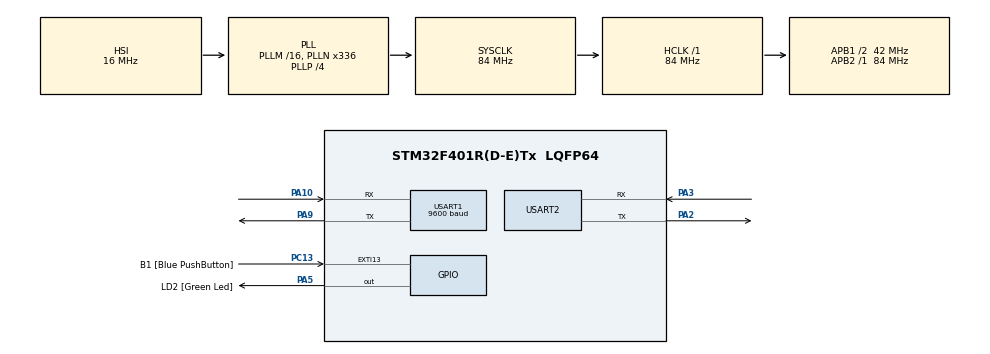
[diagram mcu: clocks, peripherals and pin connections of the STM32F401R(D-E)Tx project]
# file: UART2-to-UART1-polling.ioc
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Mcu.Family=STM32F4
Mcu.Name=STM32F401R(D-E)Tx
Mcu.Package=LQFP64
NVIC.PriorityGroup=NVIC_PRIORITYGROUP_4
NVIC.TIM2_IRQn=true\:0\:0\:false\:false\:true\:true\:true\:true
NVIC.USART1_IRQn=true\:0\:0\:false\:false\:true\:true\:true\:true
NVIC.USART2_IRQn=true\:0\:0\:false\:false\:true\:true\:true\:true
PA10.Mode=Asynchronous
PA10.Signal=USART1_RX
PA13.GPIO_Label=TMS
PA13.Mode=Trace_Asynchronous_SW
PA13.Signal=SYS_JTMS-SWDIO
PA14.GPIO_Label=TCK
PA14.Mode=Trace_Asynchronous_SW
PA14.Signal=SYS_JTCK-SWCLK
PA2.Mode=Asynchronous
PA2.Signal=USART2_TX
PA3.Mode=Asynchronous
PA3.Signal=USART2_RX
PA5.GPIO_Label=LD2 [Green Led]
PA5.GPIO_Mode=GPIO_MODE_OUTPUT_PP
PA5.GPIO_PuPd=GPIO_NOPULL
PA5.GPIO_Speed=GPIO_SPEED_FREQ_LOW
PA5.Signal=GPIO_Output
PA9.Mode=Asynchronous
PA9.Signal=USART1_TX
PB3.GPIO_Label=SWO
PB3.Mode=Trace_Asynchronous_SW
PB3.Signal=SYS_JTDO-SWO
PC13-ANTI_TAMP.GPIO_Label=B1 [Blue PushButton]
PC13-ANTI_TAMP.GPIO_ModeDefaultEXTI=GPIO_MODE_EVT_FALLING
PC13-ANTI_TAMP.GPIO_PuPd=GPIO_NOPULL
PC13-ANTI_TAMP.Signal=GPXTI13
PC14-OSC32_IN.Mode=LSE-External-Oscillator
PC14-OSC32_IN.Signal=RCC_OSC32_IN
PC15-OSC32_OUT.Mode=LSE-External-Oscillator
PC15-OSC32_OUT.Signal=RCC_OSC32_OUT
PH0\ -\ OSC_IN.Mode=HSE-External-Clock-Source
PH0\ -\ OSC_IN.Signal=RCC_OSC_IN
PH1\ -\ OSC_OUT.Mode=HSE-External-Clock-Source
PH1\ -\ OSC_OUT.Signal=RCC_OSC_OUT
ProjectManager.HeapSize=0x200
ProjectManager.StackSize=0x400
ProjectManager.TargetToolchain=STM32CubeIDE
RCC.48MHZClocksFreq_Value=48000000
RCC.AHBFreq_Value=84000000
RCC.APB1CLKDivider=RCC_HCLK_DIV2
RCC.APB1Freq_Value=42000000
RCC.APB1TimFreq_Value=84000000
RCC.APB2Freq_Value=84000000
RCC.APB2TimFreq_Value=84000000
RCC.CortexFreq_Value=84000000
RCC.HCLKFreq_Value=84000000
RCC.HSE_VALUE=8000000
RCC.HSI_VALUE=16000000
RCC.PLLN=336
RCC.PLLP=RCC_PLLP_DIV4
RCC.PLLQ=7
RCC.SYSCLKFreq_VALUE=84000000
RCC.SYSCLKSource=RCC_SYSCLKSOURCE_PLLCLK
RCC.VCOOutputFreq_Value=336000000
TIM2.AutoReloadPreload=TIM_AUTORELOAD_PRELOAD_ENABLE
TIM2.Period=10000-1
TIM2.Prescaler=81-1
USART1.BaudRate=9600
USART1.Mode=MODE_TX_RX
USART1.VirtualMode=VM_ASYNC
USART2.VirtualMode=VM_ASYNC
VP_TIM2_VS_ClockSourceINT.Mode=Internal
board=NUCLEO-F401RE

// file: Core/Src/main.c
/* USER CODE BEGIN Header */
/**
  ******************************************************************************
  * @file           : main.c
  * @brief          : Main program body
  ******************************************************************************
  * @attention
  *
  * Copyright (c) 2026 STMicroelectronics.
  * All rights reserved.
  *
  * This software is licensed under terms that can be found in the LICENSE file
  * in the root directory of this software component.
  * If no LICENSE file comes with this software, it is provided AS-IS.
  *
  ******************************************************************************
  */
/* USER CODE END Header */
#include "main.h"

/* USER CODE BEGIN Includes */
#include <stdio.h>
#include <string.h>
/* USER CODE END Includes */

TIM_HandleTypeDef htim2;

UART_HandleTypeDef huart1;
UART_HandleTypeDef huart2;

/* USER CODE BEGIN PV */
// TIM2 LED blink
volatile uint8_t  tim2_counter = 0;

// Button debounce
volatile uint8_t  btn_prev_state  = GPIO_PIN_SET;  // B1 is active-low (pull-up)
volatile uint32_t btn_last_tick   = 0;
#define DEBOUNCE_MS  300

// Incrementing counter sent over USART
volatile uint32_t send_counter = 0;

// USART1 RX (single-byte IT reception)
uint8_t rx1_byte = 0;
char    rx1_buf[32];
uint8_t rx1_idx  = 0;
uint32_t received_count = 0;
uint8_t ledstatus= 0;

	/* USER CODE END PV */

void SystemClock_Config(void);
static void MX_GPIO_Init(void);
static void MX_TIM2_Init(void);
static void MX_USART1_UART_Init(void);
static void MX_USART2_UART_Init(void);

int main(void)
{

  /* MCU Configuration--------------------------------------------------------*/

  /* Reset of all peripherals, Initializes the Flash interface and the Systick. */
  HAL_Init();

  /* Configure the system clock */
  SystemClock_Config();

  /* Initialize all configured peripherals */
  MX_GPIO_Init();
  MX_TIM2_Init();
  MX_USART1_UART_Init();
  MX_USART2_UART_Init();
  /* USER CODE BEGIN 2 */

  HAL_UART_Receive_IT(&huart1, &rx1_byte, 1);
  HAL_TIM_Base_Start_IT(&htim2);
  /* USER CODE END 2 */

  /* Infinite loop */
  /* USER CODE BEGIN WHILE */
  while (1)
  {
	  	//uint8_t btn_state = HAL_GPIO_ReadPin(B1_GPIO_Port, B1_Pin); // this is the HAL
	  	// way of reading a push button

	  	// And this is the baremetal way:
	  	  uint8_t btn_state = !(GPIOC->IDR & (1 << 13));

		// Detect falling edge (press) with debounce
		if ((btn_state == GPIO_PIN_RESET) &&
			(btn_prev_state == GPIO_PIN_SET) &&
			(HAL_GetTick() - btn_last_tick > DEBOUNCE_MS))
		{
			btn_last_tick = HAL_GetTick();
			send_counter++;

			char buf[32];
			int  len = snprintf(buf, sizeof(buf), "Count: %lu\r\n", send_counter);

			// TX on USART1
			HAL_UART_Transmit(&huart1, (uint8_t *)buf, len, 100);
		}

		btn_prev_state = btn_state;
    /* USER CODE END WHILE */

  }
}

void SystemClock_Config(void)
{
  RCC_OscInitTypeDef RCC_OscInitStruct = {0};
  RCC_ClkInitTypeDef RCC_ClkInitStruct = {0};

  /** Configure the main internal regulator output voltage
  */
  __HAL_RCC_PWR_CLK_ENABLE();
  __HAL_PWR_VOLTAGESCALING_CONFIG(PWR_REGULATOR_VOLTAGE_SCALE2);

  /** Initializes the RCC Oscillators according to the specified parameters
  * in the RCC_OscInitTypeDef structure.
  */
  RCC_OscInitStruct.OscillatorType = RCC_OSCILLATORTYPE_HSI;
  RCC_OscInitStruct.HSIState = RCC_HSI_ON;
  RCC_OscInitStruct.HSICalibrationValue = RCC_HSICALIBRATION_DEFAULT;
  RCC_OscInitStruct.PLL.PLLState = RCC_PLL_ON;
  RCC_OscInitStruct.PLL.PLLSource = RCC_PLLSOURCE_HSI;
  RCC_OscInitStruct.PLL.PLLM = 16;
  RCC_OscInitStruct.PLL.PLLN = 336;
  RCC_OscInitStruct.PLL.PLLP = RCC_PLLP_DIV4;
  RCC_OscInitStruct.PLL.PLLQ = 7;
  if (HAL_RCC_OscConfig(&RCC_OscInitStruct) != HAL_OK)
  {
    Error_Handler();
  }

  /** Initializes the CPU, AHB and APB buses clocks
  */
  RCC_ClkInitStruct.ClockType = RCC_CLOCKTYPE_HCLK|RCC_CLOCKTYPE_SYSCLK
                              |RCC_CLOCKTYPE_PCLK1|RCC_CLOCKTYPE_PCLK2;
  RCC_ClkInitStruct.SYSCLKSource = RCC_SYSCLKSOURCE_PLLCLK;
  RCC_ClkInitStruct.AHBCLKDivider = RCC_SYSCLK_DIV1;
  RCC_ClkInitStruct.APB1CLKDivider = RCC_HCLK_DIV2;
  RCC_ClkInitStruct.APB2CLKDivider = RCC_HCLK_DIV1;

  if (HAL_RCC_ClockConfig(&RCC_ClkInitStruct, FLASH_LATENCY_2) != HAL_OK)
  {
    Error_Handler();
  }
}

static void MX_TIM2_Init(void)
{

  TIM_ClockConfigTypeDef sClockSourceConfig = {0};
  TIM_MasterConfigTypeDef sMasterConfig = {0};

  htim2.Instance = TIM2;
  htim2.Init.Prescaler = 81-1;
  htim2.Init.CounterMode = TIM_COUNTERMODE_UP;
  htim2.Init.Period = 10000-1;
  htim2.Init.ClockDivision = TIM_CLOCKDIVISION_DIV1;
  htim2.Init.AutoReloadPreload = TIM_AUTORELOAD_PRELOAD_ENABLE;
  if (HAL_TIM_Base_Init(&htim2) != HAL_OK)
  {
    Error_Handler();
  }
  sClockSourceConfig.ClockSource = TIM_CLOCKSOURCE_INTERNAL;
  if (HAL_TIM_ConfigClockSource(&htim2, &sClockSourceConfig) != HAL_OK)
  {
    Error_Handler();
  }
  sMasterConfig.MasterOutputTrigger = TIM_TRGO_RESET;
  sMasterConfig.MasterSlaveMode = TIM_MASTERSLAVEMODE_DISABLE;
  if (HAL_TIMEx_MasterConfigSynchronization(&htim2, &sMasterConfig) != HAL_OK)
  {
    Error_Handler();
  }

}

static void MX_USART1_UART_Init(void)
{

  huart1.Instance = USART1;
  huart1.Init.BaudRate = 9600;
  huart1.Init.WordLength = UART_WORDLENGTH_8B;
  huart1.Init.StopBits = UART_STOPBITS_1;
  huart1.Init.Parity = UART_PARITY_NONE;
  huart1.Init.Mode = UART_MODE_TX_RX;
  huart1.Init.HwFlowCtl = UART_HWCONTROL_NONE;
  huart1.Init.OverSampling = UART_OVERSAMPLING_16;
  if (HAL_UART_Init(&huart1) != HAL_OK)
  {
    Error_Handler();
  }

}

static void MX_USART2_UART_Init(void)
{

  huart2.Instance = USART2;
  huart2.Init.BaudRate = 115200;
  huart2.Init.WordLength = UART_WORDLENGTH_8B;
  huart2.Init.StopBits = UART_STOPBITS_1;
  huart2.Init.Parity = UART_PARITY_NONE;
  huart2.Init.Mode = UART_MODE_TX_RX;
  huart2.Init.HwFlowCtl = UART_HWCONTROL_NONE;
  huart2.Init.OverSampling = UART_OVERSAMPLING_16;
  if (HAL_UART_Init(&huart2) != HAL_OK)
  {
    Error_Handler();
  }

}

static void MX_GPIO_Init(void)
{
  GPIO_InitTypeDef GPIO_InitStruct = {0};

  /* GPIO Ports Clock Enable */
  __HAL_RCC_GPIOC_CLK_ENABLE();
  __HAL_RCC_GPIOH_CLK_ENABLE();
  __HAL_RCC_GPIOA_CLK_ENABLE();
  __HAL_RCC_GPIOB_CLK_ENABLE();

  /*Configure GPIO pin Output Level */
  HAL_GPIO_WritePin(LD2_GPIO_Port, LD2_Pin, GPIO_PIN_RESET);

  /*Configure GPIO pin : B1_Pin */
  GPIO_InitStruct.Pin = B1_Pin;
  GPIO_InitStruct.Mode = GPIO_MODE_EVT_FALLING;
  GPIO_InitStruct.Pull = GPIO_NOPULL;
  HAL_GPIO_Init(B1_GPIO_Port, &GPIO_InitStruct);

  /*Configure GPIO pin : LD2_Pin */
  GPIO_InitStruct.Pin = LD2_Pin;
  GPIO_InitStruct.Mode = GPIO_MODE_OUTPUT_PP;
  GPIO_InitStruct.Pull = GPIO_NOPULL;
  GPIO_InitStruct.Speed = GPIO_SPEED_FREQ_LOW;
  HAL_GPIO_Init(LD2_GPIO_Port, &GPIO_InitStruct);

}

/* USER CODE BEGIN 4 */
/* USER CODE BEGIN 4  (callbacks, after main) */

// TIM2 period elapsed → LED blink at 200ms
void HAL_TIM_PeriodElapsedCallback(TIM_HandleTypeDef *htim)
{
    if (htim->Instance == TIM2)
    {
        tim2_counter++;
        if (tim2_counter >= 20)          // 20 × 10ms = 200ms
        {
            tim2_counter = 0;
            //HAL_GPIO_TogglePin(LD2_GPIO_Port, LD2_Pin);	  // This is the HAL way
            //of toggling PA5 (LD2)

            // this is the baremetal way of toggling PA5 (LD2)
            if(ledstatus == 0){
            	ledstatus= 1;
            	GPIOA->BSRR = (1 << 5);
            }else{
            	ledstatus= 0;
            	GPIOA->BSRR = (1 << (5 + 16));
            }
        }

    }
}

// USART1 byte received
void HAL_UART_RxCpltCallback(UART_HandleTypeDef *huart)
{
    if (huart->Instance == USART1)
    {
        if (rx1_byte != '\n' && rx1_idx < sizeof(rx1_buf) - 1)
        {
            rx1_buf[rx1_idx++] = rx1_byte;
        }
        else
        {
            rx1_buf[rx1_idx++] = '\n';
            rx1_buf[rx1_idx]   = '\0';   // null-terminate
            rx1_idx = 0;                 // reset for next message

            sscanf(rx1_buf, "Count: %u", &received_count);

            // ← Transmit ONLY here, when the full string is ready
            HAL_UART_Transmit(&huart2, (uint8_t *)rx1_buf, strlen(rx1_buf), 100);
        }

        HAL_UART_Receive_IT(&huart1, &rx1_byte, 1);  // re-arm
    }
}
/* USER CODE END 4 */

void Error_Handler(void)
{
  __disable_irq();
  while (1)
  {
  }
}
